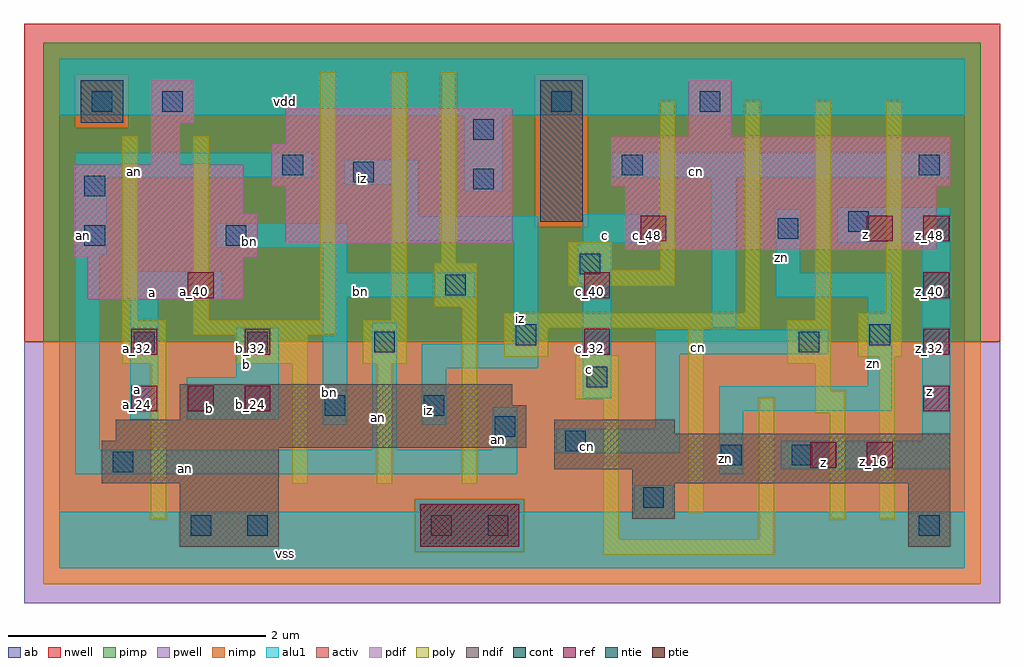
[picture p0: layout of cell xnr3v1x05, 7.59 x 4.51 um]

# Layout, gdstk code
import gdstk
lib = gdstk.Library(unit=1e-6, precision=2.5e-09)
def R(c, l, rs):  # rectangles x0, y0, x1, y1
    for r in rs: c.add(gdstk.rectangle(r[:2], r[2:], *l))
def A(c, l, x, y, w, h, nx, ny, dx, dy):  # array of equal rectangles
    R(c, l, [(x+i*dx, y+j*dy, x+i*dx+w, y+j*dy+h) for i in range(nx) for j in range(ny)])
ndif = (3, 0)
pdif = (4, 0)
ntie = (5, 0)
ptie = (6, 0)
ref = (24, 0)
cont = (25, 0)
pwell = (41, 0)
nwell = (42, 0)
activ = (43, 0)
pimp = (44, 0)
nimp = (45, 0)
poly = (46, 0)
alu1 = (49, 0)
ab = (63, 0)

xnr3v1x05 = lib.new_cell('xnr3v1x05')
R(xnr3v1x05, ndif, [(0.935,0.165,1.705,0.66), (6.6,0.165,6.93,0.66), (4.455,0.385,4.785,0.66), (0.33,0.66,1.705,0.935), (4.455,0.66,6.93,0.77), (3.85,0.77,6.93,1.045), (0.33,0.935,3.63,0.99), (0.44,0.99,3.63,1.155), (3.85,1.045,4.785,1.155), (0.935,1.155,3.63,1.265), (0.935,1.265,3.52,1.43)])
R(xnr3v1x05, pdif, [(0.22,2.09,1.43,2.42), (0.11,2.42,1.54,2.75), (4.4,2.475,6.82,2.97), (1.76,2.53,3.52,2.97), (0.11,2.75,1.43,3.135), (1.65,2.97,3.52,3.3), (4.29,2.97,6.93,3.355), (0.715,3.135,0.935,3.465), (1.76,3.3,3.52,3.575), (4.895,3.355,5.225,3.795), (0.715,3.465,1.045,3.795)])
R(xnr3v1x05, ntie, [(3.74,2.695,4.07,3.795), (0.165,3.465,0.495,3.795)])
R(xnr3v1x05, ptie, [(2.805,0.165,3.575,0.495)])
A(xnr3v1x05, ref, 0.56, 1.22, 0.2, 0.2, 3, 1, 0.44, 0)
A(xnr3v1x05, ref, 1.44, 1.66, 0.2, 0.2, 3, 1, 2.64, 0)
R(xnr3v1x05, ref, [(5.84,0.78,6.04,0.98), (6.28,0.78,6.48,0.98), (6.72,1.22,6.92,1.42), (0.56,1.66,0.76,1.86), (1,2.1,1.2,2.3), (4.08,2.1,4.28,2.3), (6.72,2.1,6.92,2.3), (4.52,2.54,4.72,2.74), (6.28,2.54,6.48,2.74), (6.72,2.54,6.92,2.74)])
R(xnr3v1x05, cont, [(1.02,0.25,1.18,0.41), (1.46,0.25,1.62,0.41), (2.89,0.25,3.05,0.41), (3.33,0.25,3.49,0.41), (6.685,0.25,6.845,0.41), (4.54,0.47,4.7,0.63), (0.415,0.745,0.575,0.905), (5.145,0.8,5.305,0.96), (5.695,0.8,5.855,0.96), (3.935,0.91,4.095,1.07), (3.385,1.02,3.545,1.18), (2.065,1.185,2.225,1.345), (2.835,1.185,2.995,1.345), (4.1,1.405,4.26,1.565), (0.58,1.68,0.74,1.84), (1.46,1.68,1.62,1.84), (2.45,1.68,2.61,1.84), (5.75,1.68,5.91,1.84), (3.55,1.735,3.71,1.895), (6.3,1.735,6.46,1.895), (3,2.12,3.16,2.28), (4.045,2.285,4.205,2.445), (0.195,2.505,0.355,2.665), (1.295,2.505,1.455,2.665), (5.585,2.56,5.745,2.72), (6.135,2.615,6.295,2.775), (0.195,2.89,0.355,3.05), (3.22,2.945,3.38,3.105), (2.285,3,2.445,3.16), (1.735,3.055,1.895,3.215), (4.375,3.055,4.535,3.215), (6.685,3.055,6.845,3.215), (3.22,3.33,3.38,3.49), (0.25,3.55,0.41,3.71), (0.8,3.55,0.96,3.71), (3.825,3.55,3.985,3.71), (4.98,3.55,5.14,3.71)])
R(xnr3v1x05, pwell, [(-0.275,-0.275,7.315,1.76)])
R(xnr3v1x05, nwell, [(-0.275,1.76,7.315,4.235)])
R(xnr3v1x05, activ, [(0.935,0.165,1.705,0.66), (2.805,0.165,3.575,0.495), (6.6,0.165,6.93,0.66), (4.455,0.385,4.785,0.66), (0.33,0.66,1.705,0.935), (4.455,0.66,6.93,0.77), (3.85,0.77,6.93,1.045), (0.33,0.935,3.63,0.99), (0.44,0.99,3.63,1.155), (3.85,1.045,4.785,1.155), (0.935,1.155,3.63,1.265), (0.935,1.265,3.52,1.43), (0.22,2.09,1.43,2.42), (0.11,2.42,1.54,2.75), (4.4,2.475,6.82,2.97), (1.76,2.53,3.52,2.97), (3.74,2.695,4.07,3.795), (0.11,2.75,1.43,3.135), (1.65,2.97,3.52,3.3), (4.29,2.97,6.93,3.355), (0.715,3.135,0.935,3.465), (1.76,3.3,3.52,3.575), (4.895,3.355,5.225,3.795), (0.165,3.465,0.495,3.795), (0.715,3.465,1.045,3.795)])
R(xnr3v1x05, pimp, [(2.765,0.125,3.615,0.535), (-0.125,1.76,7.165,2.655), (-0.125,2.655,3.7,3.425), (4.11,2.655,7.165,3.835), (-0.125,3.425,0.125,3.835), (0.535,3.425,3.7,3.835), (-0.125,3.835,7.165,4.085)])
R(xnr3v1x05, nimp, [(-0.125,-0.125,7.165,0.125), (-0.125,0.125,2.765,0.535), (3.615,0.125,7.165,0.535), (-0.125,0.535,7.165,1.76), (3.7,2.655,4.11,3.835), (0.125,3.425,0.535,3.835)])
R(xnr3v1x05, poly, [(4.23,0.105,5.56,0.225), (4.23,0.225,4.35,1.315), (5.44,0.225,5.56,1.325), (0.71,0.38,0.83,1.59), (5.99,0.38,6.11,1.205), (6.375,0.38,6.495,1.645), (4.89,0.435,5.01,1.865), (1.81,0.655,1.93,1.59), (2.47,0.655,2.59,1.59), (3.13,0.655,3.25,2.03), (5.88,1.205,6.11,1.38), (4.01,1.315,4.35,1.655), (5.88,1.38,6,1.59), (0.49,1.59,0.83,1.93), (1.37,1.59,1.93,1.81), (2.36,1.59,2.7,1.93), (5.66,1.59,6,1.93), (3.46,1.645,3.8,1.865), (6.21,1.645,6.55,1.985), (1.04,1.81,2.15,1.93), (3.46,1.865,5.45,1.985), (0.49,1.93,0.61,3.36), (1.04,1.93,1.16,3.36), (2.03,1.93,2.15,3.855), (2.58,1.93,2.7,3.855), (5.88,1.93,6,3.635), (5.33,1.985,5.45,3.635), (6.43,1.985,6.55,3.635), (2.91,2.03,3.25,2.37), (3.955,2.195,4.79,2.315), (3.955,2.315,4.295,2.535), (4.67,2.315,4.79,3.635), (2.965,2.37,3.085,3.855)])
R(xnr3v1x05, alu1, [(0,0,7.04,0.44), (4.47,0.44,4.77,0.645), (0.125,0.73,3.56,0.92), (5.13,0.73,5.32,1.225), (5.61,0.77,6.93,0.99), (3.865,0.895,4.825,1.085), (0.125,0.92,0.315,2.435), (2.435,0.92,2.625,1.91), (3.37,0.92,3.56,1.25), (6.71,0.99,6.93,2.53), (4.635,1.085,4.825,1.665), (2.05,1.115,2.24,2.105), (2.82,1.115,3.01,1.555), (0.55,1.155,0.77,2.09), (0.99,1.155,1.705,1.485), (5.13,1.225,6.475,1.415), (4.07,1.32,4.29,2.215), (6.285,1.415,6.475,2.105), (1.375,1.485,1.705,1.87), (2.82,1.555,3.725,1.745), (4.635,1.665,5.98,1.855), (3.535,1.745,3.725,2.545), (5.075,1.855,5.265,3.04), (0.55,2.09,1.265,2.31), (2.05,2.105,3.23,2.295), (5.57,2.105,6.475,2.295), (4.03,2.215,4.29,2.515), (2.05,2.295,2.24,2.49), (5.57,2.295,5.76,2.79), (0.125,2.435,0.37,3.04), (1.225,2.49,2.24,2.68), (4.07,2.515,4.29,2.53), (4.07,2.53,4.785,2.75), (6.05,2.53,6.93,2.805), (2.6,2.545,3.725,2.735), (2.6,2.735,2.79,2.985), (3.15,2.93,3.45,3.52), (2.215,2.985,2.79,3.175), (0.125,3.04,1.965,3.23), (4.305,3.04,6.915,3.23), (0,3.52,7.04,3.96)])
R(xnr3v1x05, ab, [(0,0,7.04,3.96)])
xnr3v1x05.add(gdstk.Label('vss', (1.76,0.11), layer=49, texttype=0))
xnr3v1x05.add(gdstk.Label('z', (5.94,0.825), layer=49, texttype=0))
xnr3v1x05.add(gdstk.Label('z', (6.765,1.375), layer=49, texttype=0))
xnr3v1x05.add(gdstk.Label('zn', (5.1775,0.8525), layer=49, texttype=0))
xnr3v1x05.add(gdstk.Label('cn', (4.105,0.9425), layer=49, texttype=0))
xnr3v1x05.add(gdstk.Label('an', (0.9825,0.7775), layer=49, texttype=0))
xnr3v1x05.add(gdstk.Label('zn', (6.3325,1.5875), layer=49, texttype=0))
xnr3v1x05.add(gdstk.Label('an', (3.4175,1.0025), layer=49, texttype=0))
xnr3v1x05.add(gdstk.Label('cn', (4.97,1.7125), layer=49, texttype=0))
xnr3v1x05.add(gdstk.Label('z', (6.27,2.5975), layer=49, texttype=0))
xnr3v1x05.add(gdstk.Label('zn', (5.6175,2.4175), layer=49, texttype=0))
xnr3v1x05.add(gdstk.Label('c', (4.125,1.5425), layer=49, texttype=0))
xnr3v1x05.add(gdstk.Label('iz', (2.8675,1.225), layer=49, texttype=0))
xnr3v1x05.add(gdstk.Label('c', (4.2475,2.585), layer=49, texttype=0))
xnr3v1x05.add(gdstk.Label('iz', (3.5825,1.945), layer=49, texttype=0))
xnr3v1x05.add(gdstk.Label('an', (2.4825,1.1675), layer=49, texttype=0))
xnr3v1x05.add(gdstk.Label('bn', (2.0975,1.3625), layer=49, texttype=0))
xnr3v1x05.add(gdstk.Label('b', (1.1675,1.2375), layer=49, texttype=0))
xnr3v1x05.add(gdstk.Label('b', (1.4575,1.58), layer=49, texttype=0))
xnr3v1x05.add(gdstk.Label('a', (0.605,1.3875), layer=49, texttype=0))
xnr3v1x05.add(gdstk.Label('bn', (2.345,2.1525), layer=49, texttype=0))
xnr3v1x05.add(gdstk.Label('a', (0.7275,2.145), layer=49, texttype=0))
xnr3v1x05.add(gdstk.Label('bn', (1.4775,2.5375), layer=49, texttype=0))
xnr3v1x05.add(gdstk.Label('cn', (4.9575,3.0875), layer=49, texttype=0))
xnr3v1x05.add(gdstk.Label('iz', (2.3575,3.0325), layer=49, texttype=0))
xnr3v1x05.add(gdstk.Label('an', (0.185,2.585), layer=49, texttype=0))
xnr3v1x05.add(gdstk.Label('an', (0.585,3.0875), layer=49, texttype=0))
xnr3v1x05.add(gdstk.Label('vdd', (1.76,3.63), layer=49, texttype=0))
xnr3v1x05.add(gdstk.Label('c_48', (4.57,2.59), layer=24, texttype=0))
xnr3v1x05.add(gdstk.Label('c_40', (4.13,2.15), layer=24, texttype=0))
xnr3v1x05.add(gdstk.Label('c_32', (4.13,1.71), layer=24, texttype=0))
xnr3v1x05.add(gdstk.Label('b_32', (1.49,1.71), layer=24, texttype=0))
xnr3v1x05.add(gdstk.Label('b_24', (1.49,1.27), layer=24, texttype=0))
xnr3v1x05.add(gdstk.Label('a_40', (1.05,2.15), layer=24, texttype=0))
xnr3v1x05.add(gdstk.Label('b_24', (1.05,1.27), layer=24, texttype=0))
xnr3v1x05.add(gdstk.Label('z_48', (6.77,2.59), layer=24, texttype=0))
xnr3v1x05.add(gdstk.Label('z_40', (6.77,2.15), layer=24, texttype=0))
xnr3v1x05.add(gdstk.Label('z_32', (6.77,1.71), layer=24, texttype=0))
xnr3v1x05.add(gdstk.Label('z_24', (6.77,1.27), layer=24, texttype=0))
xnr3v1x05.add(gdstk.Label('a_32', (0.61,1.71), layer=24, texttype=0))
xnr3v1x05.add(gdstk.Label('a_24', (0.61,1.27), layer=24, texttype=0))
xnr3v1x05.add(gdstk.Label('z_48', (6.33,2.59), layer=24, texttype=0))
xnr3v1x05.add(gdstk.Label('z_16', (6.33,0.83), layer=24, texttype=0))
xnr3v1x05.add(gdstk.Label('z_16', (5.89,0.83), layer=24, texttype=0))

lib.write_gds('xnr3v1x05.gds')
